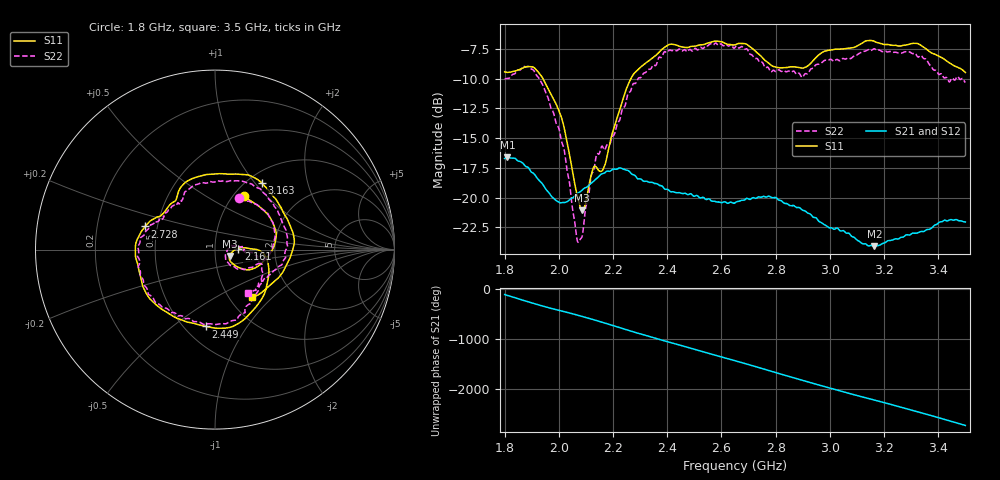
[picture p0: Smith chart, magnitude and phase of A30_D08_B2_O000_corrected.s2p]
! Created with skrf 1.9.0 (http://scikit-rf.org).
# Hz S RI R 50.0
!freq ReS11 ImS11 ReS21 ImS21 ReS12 ImS12 ReS22 ImS22
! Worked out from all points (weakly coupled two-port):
!   1601 points, 1.8 GHz to 3.5 GHz, reference 50 ohm
!   highest |S21| = -16.63 dB at 1.811 GHz (marker M1); lowest = -24.1 dB at 3.164 GHz (marker M2)
!   lowest |S11| = -21.1 dB at 2.086 GHz (marker M3), VSWR 1.19, Z = 58.7 - j4.19 ohm
!   |S11| at or under -10 dB: 1.941 GHz to 2.266 GHz (324.6 MHz wide, 15.4 % of centre)
!   |S22| runs from -23.8 to -7.0 dB; largest |S21 - S12| = 0.0028
!   S11 on the Smith chart (normalised r, x): 1.8 GHz: 1.12, +0.75; 2.161 GHz: 1.30, +0.01; 2.449 GHz: 0.63, -0.67; 2.728 GHz: 0.43, +0.13; 3.163 GHz: 1.16, +1.09; 3.5 GHz: 1.27, -0.75
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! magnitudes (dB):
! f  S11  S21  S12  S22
! 1.8 GHz  -9.4  -16.7  -16.7  -10.0
! 1.811 GHz  -9.5  -16.6  -16.6  -10.0
! 1.885 GHz  -9.0  -17.4  -17.5  -9.0
! 1.94 GHz  -9.9  -18.9  -18.9  -10.5
! 2.011 GHz  -13.4  -20.4  -20.4  -15.4
! 2.066 GHz  -19.6  -19.7  -19.7  -23.3
! 2.084 GHz  -21.0  -19.4  -19.4  -23.4
! 2.086 GHz  -21.1  -19.4  -19.4  -23.3
! 2.127 GHz  -17.5  -18.7  -18.7  -17.8
! 2.161 GHz  -17.7  -18.0  -17.9  -15.7
! 2.262 GHz  -10.2  -17.8  -17.9  -11.1
! 2.367 GHz  -7.9  -18.9  -18.9  -8.3
! 2.449 GHz  -7.3  -19.6  -19.6  -7.6
! 2.65 GHz  -7.2  -20.4  -20.4  -7.4
! 2.728 GHz  -7.7  -20.1  -20.1  -8.3
! 2.809 GHz  -9.1  -20.2  -20.1  -9.3
! 2.934 GHz  -8.6  -21.5  -21.5  -9.2
! 3.163 GHz  -6.8  -24.1  -24.1  -7.5
! 3.164 GHz  -6.9  -24.1  -24.1  -7.5
! 3.217 GHz  -7.1  -23.6  -23.6  -7.7
! 3.326 GHz  -7.1  -23.0  -22.9  -8.2
! 3.5 GHz  -9.5  -22.0  -22.0  -10.3
